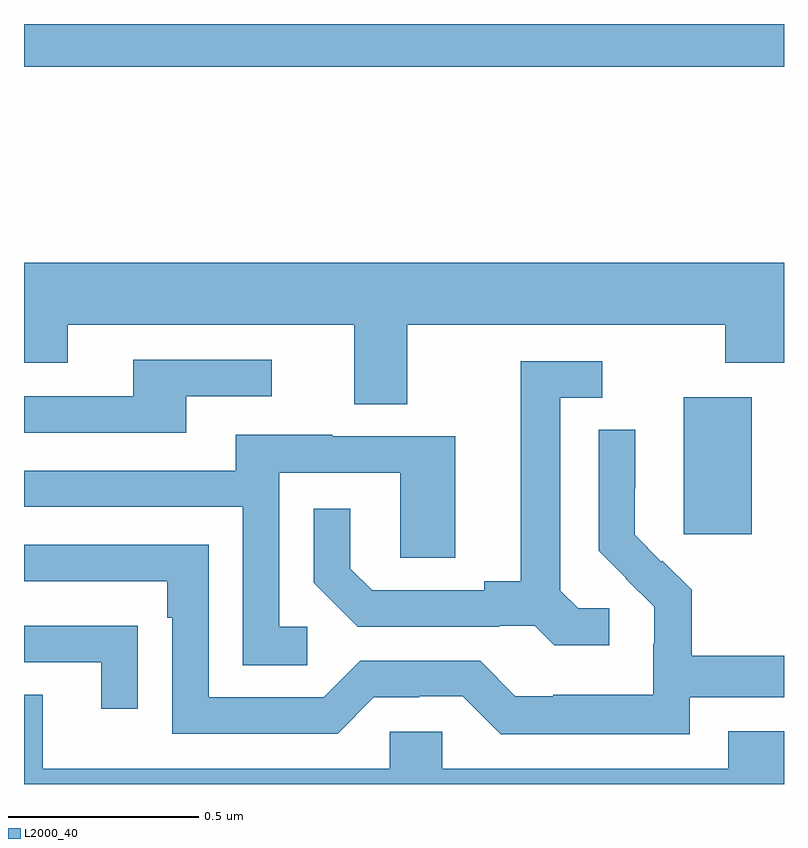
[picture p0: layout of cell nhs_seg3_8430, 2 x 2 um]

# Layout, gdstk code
import gdstk
lib = gdstk.Library(unit=1e-6, precision=1e-09)
def R(c, l, rs):  # rectangles x0, y0, x1, y1
    for r in rs: c.add(gdstk.rectangle(r[:2], r[2:], *l))
def P(c, l, *ps):  # polygons
    for p in ps: c.add(gdstk.Polygon(p, *l))
L2000_40 = (2000, 40)

nhs_seg3_8430 = lib.new_cell('nhs_seg3_8430')
R(nhs_seg3_8430, L2000_40, [(217.736,675.057,217.915,675.418), (216,676.288,218,676.4)])
P(nhs_seg3_8430, L2000_40, [(217.009,675.608),(217.846,675.608),(217.846,675.509),(218,675.509),(218,675.772),(216,675.772),(216,675.509),(216.115,675.509),(216.115,675.608),(216.869,675.608),(216.869,675.4),(217.009,675.4)],
  [(216.427,675.42),(216.652,675.42),(216.652,675.516),(216.287,675.516),(216.287,675.42),(216,675.42),(216,675.324),(216.427,675.324)],
  [(217.54,674.862),(217.458,674.862),(217.411,674.909),(217.411,675.417),(217.522,675.417),(217.522,675.513),(217.307,675.513),(217.307,674.933),(217.211,674.933),(217.211,674.91),(216.916,674.91),(216.859,674.967),(216.859,675.124),(216.762,675.124),(216.762,674.93),(216.878,674.814),(217.25,674.814),(217.25,674.817),(217.344,674.817),(217.396,674.765),(217.54,674.765)],
  [(217.752,674.628),(218,674.628),(218,674.737),(217.757,674.737),(217.757,674.911),(217.68,674.988),(217.677,674.985),(217.607,675.056),(217.607,675.178),(217.608,675.178),(217.608,675.332),(217.512,675.332),(217.512,675.014),(217.585,674.941),(217.584,674.94),(217.658,674.866),(217.658,674.769),(217.656,674.769),(217.656,674.635),(217.393,674.635),(217.393,674.631),(217.293,674.631),(217.2,674.724),(216.885,674.724),(216.789,674.628),(216.486,674.628),(216.486,675.03),(216,675.03),(216,674.934),(216.377,674.934),(216.377,674.837),(216.39,674.837),(216.39,674.532),(216.825,674.532),(216.921,674.628),(217.04,674.628),(217.04,674.631),(217.155,674.631),(217.255,674.531),(217.752,674.531)],
  [(216.745,674.814),(216.672,674.814),(216.672,675.219),(216.99,675.219),(216.99,674.995),(217.135,674.995),(217.135,675.315),(216.811,675.315),(216.811,675.319),(216.557,675.319),(216.557,675.225),(216,675.225),(216,675.129),(216.576,675.129),(216.576,674.713),(216.745,674.713)],
  [(216.299,674.816),(216.197,674.816),(216.197,674.817),(216,674.817),(216,674.721),(216.203,674.721),(216.203,674.598),(216.299,674.598)],
  [(218,674.539),(217.853,674.539),(217.853,674.44),(217.101,674.44),(217.101,674.538),(216.963,674.538),(216.963,674.44),(216.049,674.44),(216.049,674.635),(216,674.635),(216,674.4),(218,674.4)])

lib.write_gds('nhs_seg3_8430.gds')
